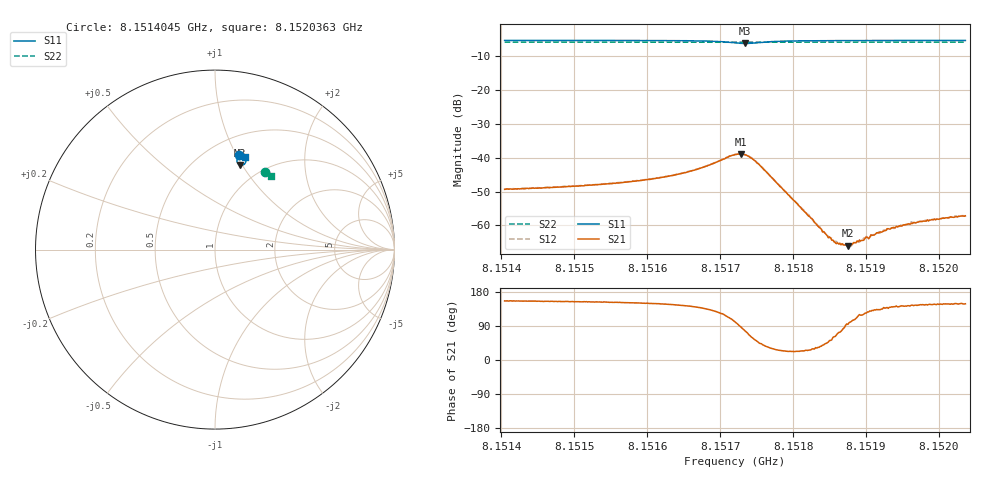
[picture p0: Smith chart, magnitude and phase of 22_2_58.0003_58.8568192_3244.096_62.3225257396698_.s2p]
#  HZ  S  RI  R  50.00
! Rohde & Schwarz Vector Network Analyzer
! Rohde-Schwarz,ZNB20-2Port,1311601062101988,3.16
! Created: UTC 3/21/2024, 12:51:13 AM
! freq[Hz]  re:S11  im:S11  re:S21  im:S21  re:S12  im:S12  re:S22  im:S22
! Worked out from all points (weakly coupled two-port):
!   401 points, 8.1514045 GHz to 8.1520363 GHz, reference 50 ohm
!   highest |S21| = -38.82 dB at 8.1517283 GHz (marker M1); lowest = -65.9 dB at 8.1518752 GHz (marker M2)
!   lowest |S11| = -6.2 dB at 8.1517346 GHz (marker M3), VSWR 2.93, Z = 39.5 + j49 ohm
!   |S11| at or under -10 dB: nowhere
!   |S22| runs from -5.8 to -5.8 dB; largest |S21 - S12| = 0.00032
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8.1514045e9  0.136 0.5265  -0.00312 0.00139  -0.00312 0.00146  0.277 0.4331
8.15151033e9  0.1453 0.524  -0.00346 0.00173  -0.00345 0.00177  0.2827 0.4293
8.15156245e9  0.1506 0.522  -0.00378 0.00198  -0.00378 0.0021  0.2855 0.4272
8.15161615e9  0.1574 0.5187  -0.00429 0.00262  -0.00428 0.00271  0.2885 0.4252
8.151643e9  0.1618 0.5156  -0.0047 0.00328  -0.0047 0.00339  0.2898 0.424
8.15166669e9  0.1664 0.5107  -0.00512 0.00432  -0.00509 0.00441  0.2914 0.4227
8.1517204e9  0.162 0.4749  -0.00202 0.0111  -0.00189 0.0109  0.2931 0.4197
8.15172829e9  0.1507 0.4702  0.000532 0.0114  0.000601 0.0115  0.293 0.4194
8.15173461e9  0.1399 0.4709  0.00266 0.0108  0.00287 0.0108  0.2931 0.4194
8.15174409e9  0.1272 0.4797  0.00501 0.00832  0.0051 0.00837  0.2931 0.4196
8.15175672e9  0.1223 0.4958  0.00536 0.00498  0.00553 0.0049  0.2937 0.4197
8.15182622e9  0.1436 0.5196  0.00109 0.000611  0.00108 0.000578  0.2984 0.4177
8.15184359e9  0.1471 0.5203  0.000572 0.000525  0.000591 0.000496  0.2994 0.4171
8.15185623e9  0.1495 0.5203  0.000276 0.000506  0.000284 0.000494  0.3002 0.4165
8.15186728e9  0.151 0.5204  0.000103 0.000527  7.18e-05 0.000519  0.3007 0.4161
8.15187518e9  0.1523 0.5204  -3.48e-05 0.000503  -9.94e-06 0.000513  0.3013 0.4158
8.15188308e9  0.1534 0.5202  -0.000149 0.000535  -0.000142 0.000542  0.3017 0.4155
8.15189729e9  0.1551 0.5202  -0.000319 0.00052  -0.000361 0.000544  0.3024 0.415
8.15193204e9  0.1592 0.5195  -0.000668 0.000578  -0.000657 0.000608  0.3042 0.4136
8.15197311e9  0.1632 0.5189  -0.000939 0.000654  -0.000932 0.000666  0.3064 0.412
8.15202049e9  0.1675 0.5177  -0.00112 0.0007  -0.00111 0.000711  0.3088 0.41
8.15203628e9  0.1687 0.5175  -0.00118 0.000728  -0.00116 0.000715  0.3097 0.4094
